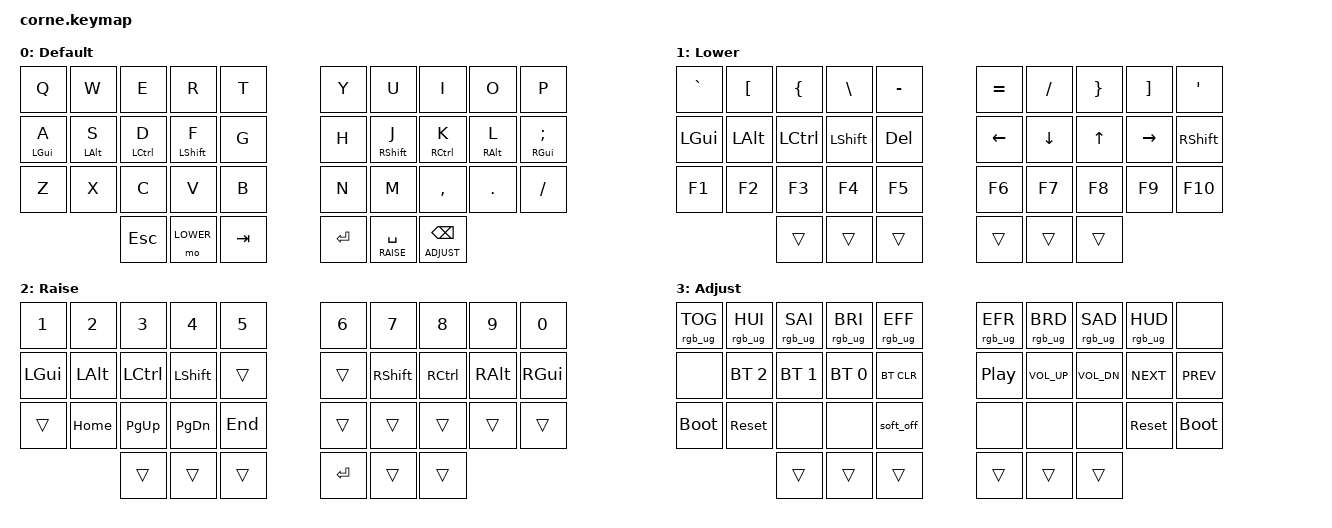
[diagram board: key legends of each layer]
/*
 * Copyright (c) 2020 The ZMK Contributors
 *
 * SPDX-License-Identifier: MIT
 */

#include <behaviors.dtsi>
#include <dt-bindings/zmk/keys.h>
#include <dt-bindings/zmk/bt.h>
#include <dt-bindings/zmk/rgb.h>

#define DEFAULT 0
#define LOWER   1
#define RAISE   2
#define ADJUST  3

&mt {
    tapping-term-ms = <250>;
    flavor = "balanced";
    require-prior-idle-ms = <150>;
};

&lt {
    tapping-term-ms = <200>;
    flavor = "balanced";
    require-prior-idle-ms = <150>;
};

/ {
        keymap {
                compatible = "zmk,keymap";

                default_layer {
                        display-name = "Default";
// -----------------------------------------------------------------------------------------
// |  Q  |    W    |    E    |    R    |  T  |   |  Y  |    U    |    I    |    O    |    P    |
// | mt(LGUI)A | mt(LALT)S | mt(LCTL)D | mt(LSFT)F |  G  |   |  H  | mt(RSFT)J | mt(RCTL)K | mt(RALT)L | mt(RGUI); |
// |  Z  |    X    |    C    |    V    |  B  |   |  N  |    M    |    ,    |    .    |    /    |
//             | ESC | mo LOWER | TAB |   | ENT | lt RAISE SPC | lt ADJUST BSPC |
                        bindings = <
   &kp Q        &kp W        &kp E          &kp R          &kp T        &kp Y      &kp U          &kp I          &kp O        &kp P
   &mt LGUI A   &mt LALT S   &mt LCTRL D    &mt LSHIFT F   &kp G        &kp H      &mt RSHIFT J   &mt RCTRL K    &mt RALT L   &mt RGUI SEMI
   &kp Z        &kp X        &kp C          &kp V          &kp B        &kp N      &kp M          &kp COMMA      &kp DOT      &kp FSLH
                             &kp ESC        &mo LOWER      &kp TAB      &kp ENTER  &lt RAISE SPACE    &lt ADJUST BSPC
                        >;
                };

                lower_layer {
                        display-name = "Lower";
// -----------------------------------------------------------------------------------------
// |  `  |  [  |  {  |  \  |  -  |   |  =  |  /  |  }  |  ]  |  '  |
// | LGUI| LALT| LCTL| LSFT| DEL |   | LEFT| DOWN|  UP | RGT |RSFT |
// |  F1 |  F2 |  F3 |  F4 |  F5 |   |  F6 |  F7 |  F8 |  F9 | F10 |
//             |     |     |     |   |     |     |     |
                        bindings = <
   &kp GRAVE   &kp LBKT   &kp LBRC   &kp BSLH    &kp MINUS       &kp EQUAL   &kp FSLH   &kp RBRC   &kp RBKT   &kp SQT
   &kp LGUI    &kp LALT   &kp LCTRL  &kp LSHIFT  &kp DEL         &kp LEFT    &kp DOWN   &kp UP     &kp RIGHT  &kp RSHIFT
   &kp F1      &kp F2     &kp F3     &kp F4      &kp F5          &kp F6      &kp F7     &kp F8     &kp F9     &kp F10
                          &trans     &trans      &trans           &trans      &trans     &trans
                        >;
                };

                raise_layer {
                        display-name = "Raise";
// -----------------------------------------------------------------------------------------
// |  1  |  2  |  3  |  4  |  5  |   |  6  |  7  |  8  |  9  |  0  |
// | LGUI| LALT| LCTL| LSFT|     |   |     | RSFT| RCTL| RALT| RGUI|
// |     | HOME|PG_UP|PG_DN| END |   |     |     |     |     |     |
//             |     |     |     |   | ENT |     |     |
                        bindings = <
   &kp N1    &kp N2     &kp N3     &kp N4      &kp N5          &kp N6     &kp N7     &kp N8    &kp N9     &kp N0
   &kp LGUI  &kp LALT   &kp LCTRL  &kp LSHIFT  &trans          &trans     &kp RSHIFT &kp RCTRL &kp RALT   &kp RGUI
   &trans    &kp HOME   &kp PG_UP  &kp PG_DN   &kp END         &trans     &trans     &trans    &trans     &trans
                        &trans     &trans      &trans           &kp ENTER  &trans     &trans
                        >;
                };

                adjust_layer {
                        display-name = "Adjust";
// -----------------------------------------------------------------------------------------
// | RGB TOG | RGB HUI | RGB SAI | RGB BRI | RGB EFF |   | RGB EFR | RGB BRD | RGB SAD | RGB HUD |     |
// |         | BT SEL2 | BT SEL1 | BT SEL0 | BT CLR  |   |  C_PP   | VOL UP  | VOL DN  | C_NEXT  |C_PREV|
// |  BOOT   |  RESET  |         |         | SOFT_OFF|   |         |         |         |  RESET  | BOOT |
//                     |         |         |         |   |         |         |         |
                        bindings = <
   &rgb_ug RGB_TOG   &rgb_ug RGB_HUI   &rgb_ug RGB_SAI   &rgb_ug RGB_BRI   &rgb_ug RGB_EFF       &rgb_ug RGB_EFR   &rgb_ug RGB_BRD   &rgb_ug RGB_SAD   &rgb_ug RGB_HUD   &none
   &none             &bt BT_SEL 2      &bt BT_SEL 1      &bt BT_SEL 0      &bt BT_CLR            &kp C_PP          &kp C_VOL_UP      &kp C_VOL_DN      &kp C_NEXT        &kp C_PREV
   &bootloader       &sys_reset        &none             &none             &soft_off             &none             &none             &none             &sys_reset        &bootloader
                                       &trans            &trans            &trans                &trans            &trans            &trans
                        >;
                };
        };
};

&led_strip {
    chain-length = <24>;
};
